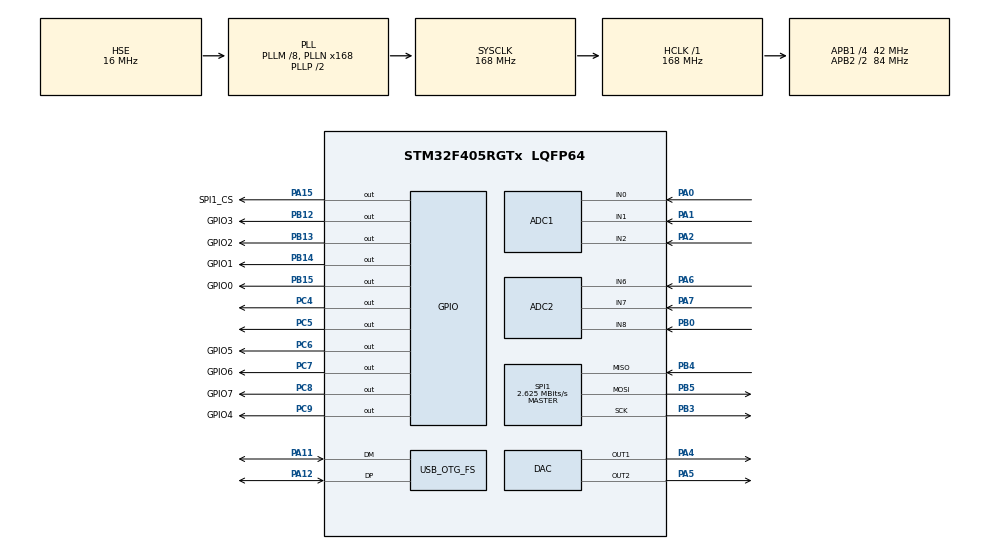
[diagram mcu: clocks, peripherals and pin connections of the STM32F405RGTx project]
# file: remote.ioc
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ADC1.Channel-0\#ChannelRegularConversion=ADC_CHANNEL_0
ADC1.NbrOfConversionFlag=1
ADC1.Rank-0\#ChannelRegularConversion=1
ADC1.SamplingTime-0\#ChannelRegularConversion=ADC_SAMPLETIME_3CYCLES
ADC1.master=1
ADC2.Channel-4\#ChannelRegularConversion=ADC_CHANNEL_6
ADC2.NbrOfConversionFlag=1
ADC2.Rank-4\#ChannelRegularConversion=1
ADC2.SamplingTime-4\#ChannelRegularConversion=ADC_SAMPLETIME_3CYCLES
Mcu.Family=STM32F4
Mcu.Name=STM32F405RGTx
Mcu.Package=LQFP64
NVIC.OTG_FS_IRQn=true\:0\:0\:false\:false\:true\:false\:true\:true
NVIC.PriorityGroup=NVIC_PRIORITYGROUP_4
NVIC.TIM1_UP_TIM10_IRQn=true\:0\:0\:false\:false\:true\:true\:true\:true
PA0-WKUP.Signal=ADCx_IN0
PA1.Signal=ADCx_IN1
PA11.Mode=Device_Only
PA11.Signal=USB_OTG_FS_DM
PA12.Mode=Device_Only
PA12.Signal=USB_OTG_FS_DP
PA13.Mode=Serial_Wire
PA13.Signal=SYS_JTMS-SWDIO
PA14.Mode=Serial_Wire
PA14.Signal=SYS_JTCK-SWCLK
PA15.GPIO_Label=SPI1_CS
PA15.Signal=GPIO_Output
PA2.Signal=ADCx_IN2
PA4.Signal=COMP_DAC1_group
PA5.Signal=COMP_DAC2_group
PA6.Signal=ADCx_IN6
PA7.Signal=ADCx_IN7
PB0.Signal=ADCx_IN8
PB12.GPIO_Label=GPIO3
PB12.Signal=GPIO_Output
PB13.GPIO_Label=GPIO2
PB13.Signal=GPIO_Output
PB14.GPIO_Label=GPIO1
PB14.Signal=GPIO_Output
PB15.GPIO_Label=GPIO0
PB15.Signal=GPIO_Output
PB3.Mode=Full_Duplex_Master
PB3.Signal=SPI1_SCK
PB4.Mode=Full_Duplex_Master
PB4.Signal=SPI1_MISO
PB5.Mode=Full_Duplex_Master
PB5.Signal=SPI1_MOSI
PC4.Signal=GPIO_Output
PC5.Signal=GPIO_Output
PC6.GPIO_Label=GPIO5
PC6.Signal=GPIO_Output
PC7.GPIO_Label=GPIO6
PC7.Signal=GPIO_Output
PC8.GPIO_Label=GPIO7
PC8.Signal=GPIO_Output
PC9.GPIO_Label=GPIO4
PC9.Signal=GPIO_Output
PH0-OSC_IN.Mode=HSE-External-Oscillator
PH0-OSC_IN.Signal=RCC_OSC_IN
PH1-OSC_OUT.Mode=HSE-External-Oscillator
PH1-OSC_OUT.Signal=RCC_OSC_OUT
ProjectManager.HeapSize=0x200
ProjectManager.StackSize=0x400
ProjectManager.TargetToolchain=CMake
RCC.48MHZClocksFreq_Value=48000000
RCC.AHBFreq_Value=168000000
RCC.APB1CLKDivider=RCC_HCLK_DIV4
RCC.APB1Freq_Value=42000000
RCC.APB1TimFreq_Value=84000000
RCC.APB2CLKDivider=RCC_HCLK_DIV2
RCC.APB2Freq_Value=84000000
RCC.APB2TimFreq_Value=168000000
RCC.CortexFreq_Value=168000000
RCC.HCLKFreq_Value=168000000
RCC.HSE_VALUE=16000000
RCC.HSI_VALUE=16000000
RCC.LSE_VALUE=32768
RCC.PLLM=8
RCC.PLLN=168
RCC.PLLQ=7
RCC.SYSCLKFreq_VALUE=168000000
RCC.SYSCLKSource=RCC_SYSCLKSOURCE_PLLCLK
RCC.VCOOutputFreq_Value=336000000
SH.ADCx_IN0.0=ADC1_IN0,IN0
SH.ADCx_IN1.0=ADC1_IN1,IN1
SH.ADCx_IN2.0=ADC1_IN2,IN2
SH.ADCx_IN6.0=ADC2_IN6,IN6
SH.ADCx_IN7.0=ADC2_IN7,IN7
SH.ADCx_IN8.0=ADC2_IN8,IN8
SH.COMP_DAC1_group.0=DAC_OUT1,DAC_OUT1
SH.COMP_DAC2_group.0=DAC_OUT2,DAC_OUT2
SPI1.BaudRatePrescaler=SPI_BAUDRATEPRESCALER_32
SPI1.CLKPhase=SPI_PHASE_2EDGE
SPI1.CalculateBaudRate=2.625 MBits/s
SPI1.DataSize=SPI_DATASIZE_16BIT
SPI1.Direction=SPI_DIRECTION_2LINES
SPI1.Mode=SPI_MODE_MASTER
SPI1.VirtualType=VM_MASTER
TIM10.Channel=TIM_CHANNEL_1
TIM10.Period=33600-1
USB_DEVICE.CLASS_NAME_FS=CDC
USB_DEVICE.VirtualMode-CDC_FS=Cdc
USB_DEVICE.VirtualModeFS=Cdc_FS
USB_OTG_FS.VirtualMode=Device_Only
VP_TIM10_VS_ClockSourceINT.Mode=Enable_Timer
VP_TIM10_VS_no_output1.Mode=Output Compare1 No Output
VP_USB_DEVICE_VS_USB_DEVICE_CDC_FS.Mode=CDC_FS
board=custom

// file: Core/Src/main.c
/* USER CODE BEGIN Header */
/**
 ******************************************************************************
 * @file           : main.c
 * @brief          : Main program body
 ******************************************************************************
 * @attention
 *
 * Copyright (c) 2025 STMicroelectronics.
 * All rights reserved.
 *
 * This software is licensed under terms that can be found in the LICENSE file
 * in the root directory of this software component.
 * If no LICENSE file comes with this software, it is provided AS-IS.
 *
 ******************************************************************************
 */
/* USER CODE END Header */
#include "main.h"
#include "usb_device.h"

/* USER CODE BEGIN Includes */
#include "usbd_cdc_if.h"
#include <stdio.h>

/* USER CODE END Includes */

/* USER CODE BEGIN PD */
#define AIN0_HADC hadc1
#define AIN0_CH 0

#define AIN1_HADC hadc1
#define AIN1_CH 1

#define AIN2_HADC hadc1
#define AIN2_CH 2

#define AIN3_HADC hadc2
#define AIN3_CH 6

#define AIN4_HADC hadc2
#define AIN4_CH 7

#define AIN5_HADC hadc2
#define AIN5_CH 8

/* USER CODE END PD */

ADC_HandleTypeDef hadc1;
ADC_HandleTypeDef hadc2;

DAC_HandleTypeDef hdac;

SPI_HandleTypeDef hspi1;

TIM_HandleTypeDef htim10;

/* USER CODE BEGIN PV */
uint16_t spi_tx_buffer[8] = {0x1234, 0x1234, 0x1234, 0x1234, 0x1234, 0x1234, 0x1234, 0x1234};
uint16_t spi_rx_buffer[8] = {0x1234, 0x1234, 0x1234, 0x1234, 0x1234, 0x1234, 0x1234, 0x1234};

/* USER CODE END PV */

void SystemClock_Config(void);
static void MX_GPIO_Init(void);
static void MX_ADC1_Init(void);
static void MX_ADC2_Init(void);
static void MX_DAC_Init(void);
static void MX_SPI1_Init(void);
static void MX_TIM10_Init(void);

/* USER CODE BEGIN 0 */
int _write(int file, char *ptr, int len) {
  CDC_Transmit_FS((uint8_t *)ptr, len);
  return len;
}

uint16_t adc_sample(ADC_HandleTypeDef *handle, uint32_t channel) {
  ADC_ChannelConfTypeDef sConfig = {0};
  sConfig.Channel = channel;
  sConfig.SamplingTime = ADC_SAMPLETIME_3CYCLES;
  sConfig.Rank = 1;
  HAL_ADC_ConfigChannel(handle, &sConfig);
  HAL_ADC_Start(handle);

  while (HAL_ADC_PollForConversion(handle, 1000000) != HAL_OK)
    ;
  return (uint16_t)HAL_ADC_GetValue(handle);
}

void Sample_Timer_Interrupt_Handler() {
  spi_tx_buffer[0] = adc_sample(&AIN0_HADC, AIN0_CH)<<3;
  spi_tx_buffer[1] = adc_sample(&AIN1_HADC, AIN1_CH)<<3;
  spi_tx_buffer[2] = adc_sample(&AIN2_HADC, AIN2_CH)<<3;
  spi_tx_buffer[3] = adc_sample(&AIN3_HADC, AIN3_CH)<<3;
  spi_tx_buffer[4] = adc_sample(&AIN4_HADC, AIN4_CH)<<3;
  spi_tx_buffer[5] = adc_sample(&AIN5_HADC, AIN5_CH)<<3;

  HAL_GPIO_WritePin(SPI1_CS_GPIO_Port, SPI1_CS_Pin, 0);
  HAL_SPI_TransmitReceive(&hspi1, (uint8_t *)spi_tx_buffer, (uint8_t *)spi_rx_buffer, 8, 10000);
  HAL_GPIO_WritePin(SPI1_CS_GPIO_Port, SPI1_CS_Pin, 1);

  HAL_DAC_SetValue(&hdac, DAC_CHANNEL_1, DAC_ALIGN_12B_R, spi_rx_buffer[0]>>3);
  HAL_DAC_SetValue(&hdac, DAC_CHANNEL_2, DAC_ALIGN_12B_R, spi_rx_buffer[1]>>3);
}

/* USER CODE END 0 */

int main(void)
{

  /* MCU Configuration--------------------------------------------------------*/

  /* Reset of all peripherals, Initializes the Flash interface and the Systick. */
  HAL_Init();

  /* Configure the system clock */
  SystemClock_Config();

  /* Initialize all configured peripherals */
  MX_GPIO_Init();
  MX_ADC1_Init();
  MX_ADC2_Init();
  MX_DAC_Init();
  MX_SPI1_Init();
  MX_USB_DEVICE_Init();
  MX_TIM10_Init();
  /* USER CODE BEGIN 2 */
  HAL_TIM_Base_Start_IT(&htim10);
  HAL_DAC_Start(&hdac, DAC_CHANNEL_1);
  HAL_DAC_Start(&hdac, DAC_CHANNEL_2);

  /* USER CODE END 2 */

  /* Infinite loop */
  while (1) {

    /* USER CODE BEGIN 3 */
    // HAL_GPIO_WritePin(GPIO0_GPIO_Port, GPIO0_Pin, 1);
    // printf("Hellooo!!!\r\n");
    // HAL_Delay(10);
    // HAL_GPIO_WritePin(GPIO0_GPIO_Port, GPIO0_Pin, 0);
    // HAL_Delay(10);
  }
  /* USER CODE END 3 */
}

void SystemClock_Config(void)
{
  RCC_OscInitTypeDef RCC_OscInitStruct = {0};
  RCC_ClkInitTypeDef RCC_ClkInitStruct = {0};

  /** Configure the main internal regulator output voltage
  */
  __HAL_RCC_PWR_CLK_ENABLE();
  __HAL_PWR_VOLTAGESCALING_CONFIG(PWR_REGULATOR_VOLTAGE_SCALE1);

  /** Initializes the RCC Oscillators according to the specified parameters
  * in the RCC_OscInitTypeDef structure.
  */
  RCC_OscInitStruct.OscillatorType = RCC_OSCILLATORTYPE_HSE;
  RCC_OscInitStruct.HSEState = RCC_HSE_ON;
  RCC_OscInitStruct.PLL.PLLState = RCC_PLL_ON;
  RCC_OscInitStruct.PLL.PLLSource = RCC_PLLSOURCE_HSE;
  RCC_OscInitStruct.PLL.PLLM = 8;
  RCC_OscInitStruct.PLL.PLLN = 168;
  RCC_OscInitStruct.PLL.PLLP = RCC_PLLP_DIV2;
  RCC_OscInitStruct.PLL.PLLQ = 7;
  if (HAL_RCC_OscConfig(&RCC_OscInitStruct) != HAL_OK)
  {
    Error_Handler();
  }

  /** Initializes the CPU, AHB and APB buses clocks
  */
  RCC_ClkInitStruct.ClockType = RCC_CLOCKTYPE_HCLK|RCC_CLOCKTYPE_SYSCLK
                              |RCC_CLOCKTYPE_PCLK1|RCC_CLOCKTYPE_PCLK2;
  RCC_ClkInitStruct.SYSCLKSource = RCC_SYSCLKSOURCE_PLLCLK;
  RCC_ClkInitStruct.AHBCLKDivider = RCC_SYSCLK_DIV1;
  RCC_ClkInitStruct.APB1CLKDivider = RCC_HCLK_DIV4;
  RCC_ClkInitStruct.APB2CLKDivider = RCC_HCLK_DIV2;

  if (HAL_RCC_ClockConfig(&RCC_ClkInitStruct, FLASH_LATENCY_5) != HAL_OK)
  {
    Error_Handler();
  }
}

static void MX_ADC1_Init(void)
{

  ADC_ChannelConfTypeDef sConfig = {0};

  /** Configure the global features of the ADC (Clock, Resolution, Data Alignment and number of conversion)
  */
  hadc1.Instance = ADC1;
  hadc1.Init.ClockPrescaler = ADC_CLOCK_SYNC_PCLK_DIV4;
  hadc1.Init.Resolution = ADC_RESOLUTION_12B;
  hadc1.Init.ScanConvMode = DISABLE;
  hadc1.Init.ContinuousConvMode = DISABLE;
  hadc1.Init.DiscontinuousConvMode = DISABLE;
  hadc1.Init.ExternalTrigConvEdge = ADC_EXTERNALTRIGCONVEDGE_NONE;
  hadc1.Init.ExternalTrigConv = ADC_SOFTWARE_START;
  hadc1.Init.DataAlign = ADC_DATAALIGN_RIGHT;
  hadc1.Init.NbrOfConversion = 1;
  hadc1.Init.DMAContinuousRequests = DISABLE;
  hadc1.Init.EOCSelection = ADC_EOC_SINGLE_CONV;
  if (HAL_ADC_Init(&hadc1) != HAL_OK)
  {
    Error_Handler();
  }

  /** Configure for the selected ADC regular channel its corresponding rank in the sequencer and its sample time.
  */
  sConfig.Channel = ADC_CHANNEL_0;
  sConfig.Rank = 1;
  sConfig.SamplingTime = ADC_SAMPLETIME_3CYCLES;
  if (HAL_ADC_ConfigChannel(&hadc1, &sConfig) != HAL_OK)
  {
    Error_Handler();
  }

}

static void MX_ADC2_Init(void)
{

  ADC_ChannelConfTypeDef sConfig = {0};

  /** Configure the global features of the ADC (Clock, Resolution, Data Alignment and number of conversion)
  */
  hadc2.Instance = ADC2;
  hadc2.Init.ClockPrescaler = ADC_CLOCK_SYNC_PCLK_DIV4;
  hadc2.Init.Resolution = ADC_RESOLUTION_12B;
  hadc2.Init.ScanConvMode = DISABLE;
  hadc2.Init.ContinuousConvMode = DISABLE;
  hadc2.Init.DiscontinuousConvMode = DISABLE;
  hadc2.Init.ExternalTrigConvEdge = ADC_EXTERNALTRIGCONVEDGE_NONE;
  hadc2.Init.ExternalTrigConv = ADC_SOFTWARE_START;
  hadc2.Init.DataAlign = ADC_DATAALIGN_RIGHT;
  hadc2.Init.NbrOfConversion = 1;
  hadc2.Init.DMAContinuousRequests = DISABLE;
  hadc2.Init.EOCSelection = ADC_EOC_SINGLE_CONV;
  if (HAL_ADC_Init(&hadc2) != HAL_OK)
  {
    Error_Handler();
  }

  /** Configure for the selected ADC regular channel its corresponding rank in the sequencer and its sample time.
  */
  sConfig.Channel = ADC_CHANNEL_6;
  sConfig.Rank = 1;
  sConfig.SamplingTime = ADC_SAMPLETIME_3CYCLES;
  if (HAL_ADC_ConfigChannel(&hadc2, &sConfig) != HAL_OK)
  {
    Error_Handler();
  }

}

static void MX_DAC_Init(void)
{

  DAC_ChannelConfTypeDef sConfig = {0};

  /** DAC Initialization
  */
  hdac.Instance = DAC;
  if (HAL_DAC_Init(&hdac) != HAL_OK)
  {
    Error_Handler();
  }

  /** DAC channel OUT1 config
  */
  sConfig.DAC_Trigger = DAC_TRIGGER_NONE;
  sConfig.DAC_OutputBuffer = DAC_OUTPUTBUFFER_ENABLE;
  if (HAL_DAC_ConfigChannel(&hdac, &sConfig, DAC_CHANNEL_1) != HAL_OK)
  {
    Error_Handler();
  }

  /** DAC channel OUT2 config
  */
  if (HAL_DAC_ConfigChannel(&hdac, &sConfig, DAC_CHANNEL_2) != HAL_OK)
  {
    Error_Handler();
  }

}

static void MX_SPI1_Init(void)
{

  /* SPI1 parameter configuration*/
  hspi1.Instance = SPI1;
  hspi1.Init.Mode = SPI_MODE_MASTER;
  hspi1.Init.Direction = SPI_DIRECTION_2LINES;
  hspi1.Init.DataSize = SPI_DATASIZE_16BIT;
  hspi1.Init.CLKPolarity = SPI_POLARITY_LOW;
  hspi1.Init.CLKPhase = SPI_PHASE_2EDGE;
  hspi1.Init.NSS = SPI_NSS_SOFT;
  hspi1.Init.BaudRatePrescaler = SPI_BAUDRATEPRESCALER_32;
  hspi1.Init.FirstBit = SPI_FIRSTBIT_MSB;
  hspi1.Init.TIMode = SPI_TIMODE_DISABLE;
  hspi1.Init.CRCCalculation = SPI_CRCCALCULATION_DISABLE;
  hspi1.Init.CRCPolynomial = 10;
  if (HAL_SPI_Init(&hspi1) != HAL_OK)
  {
    Error_Handler();
  }

}

static void MX_TIM10_Init(void)
{

  TIM_OC_InitTypeDef sConfigOC = {0};

  htim10.Instance = TIM10;
  htim10.Init.Prescaler = 0;
  htim10.Init.CounterMode = TIM_COUNTERMODE_UP;
  htim10.Init.Period = 33600-1;
  htim10.Init.ClockDivision = TIM_CLOCKDIVISION_DIV1;
  htim10.Init.AutoReloadPreload = TIM_AUTORELOAD_PRELOAD_DISABLE;
  if (HAL_TIM_Base_Init(&htim10) != HAL_OK)
  {
    Error_Handler();
  }
  if (HAL_TIM_OC_Init(&htim10) != HAL_OK)
  {
    Error_Handler();
  }
  sConfigOC.OCMode = TIM_OCMODE_TIMING;
  sConfigOC.Pulse = 0;
  sConfigOC.OCPolarity = TIM_OCPOLARITY_HIGH;
  sConfigOC.OCFastMode = TIM_OCFAST_DISABLE;
  if (HAL_TIM_OC_ConfigChannel(&htim10, &sConfigOC, TIM_CHANNEL_1) != HAL_OK)
  {
    Error_Handler();
  }

}

static void MX_GPIO_Init(void)
{
  GPIO_InitTypeDef GPIO_InitStruct = {0};

  /* GPIO Ports Clock Enable */
  __HAL_RCC_GPIOH_CLK_ENABLE();
  __HAL_RCC_GPIOA_CLK_ENABLE();
  __HAL_RCC_GPIOC_CLK_ENABLE();
  __HAL_RCC_GPIOB_CLK_ENABLE();

  /*Configure GPIO pin Output Level */
  HAL_GPIO_WritePin(GPIOC, GPIO_PIN_4|GPIO_PIN_5|GPIO5_Pin|GPIO6_Pin
                          |GPIO7_Pin|GPIO4_Pin, GPIO_PIN_RESET);

  /*Configure GPIO pin Output Level */
  HAL_GPIO_WritePin(GPIOB, GPIO3_Pin|GPIO2_Pin|GPIO1_Pin|GPIO0_Pin, GPIO_PIN_RESET);

  /*Configure GPIO pin Output Level */
  HAL_GPIO_WritePin(SPI1_CS_GPIO_Port, SPI1_CS_Pin, GPIO_PIN_RESET);

  /*Configure GPIO pins : PC4 PC5 GPIO5_Pin GPIO6_Pin
                           GPIO7_Pin GPIO4_Pin */
  GPIO_InitStruct.Pin = GPIO_PIN_4|GPIO_PIN_5|GPIO5_Pin|GPIO6_Pin
                          |GPIO7_Pin|GPIO4_Pin;
  GPIO_InitStruct.Mode = GPIO_MODE_OUTPUT_PP;
  GPIO_InitStruct.Pull = GPIO_NOPULL;
  GPIO_InitStruct.Speed = GPIO_SPEED_FREQ_LOW;
  HAL_GPIO_Init(GPIOC, &GPIO_InitStruct);

  /*Configure GPIO pins : GPIO3_Pin GPIO2_Pin GPIO1_Pin GPIO0_Pin */
  GPIO_InitStruct.Pin = GPIO3_Pin|GPIO2_Pin|GPIO1_Pin|GPIO0_Pin;
  GPIO_InitStruct.Mode = GPIO_MODE_OUTPUT_PP;
  GPIO_InitStruct.Pull = GPIO_NOPULL;
  GPIO_InitStruct.Speed = GPIO_SPEED_FREQ_LOW;
  HAL_GPIO_Init(GPIOB, &GPIO_InitStruct);

  /*Configure GPIO pin : SPI1_CS_Pin */
  GPIO_InitStruct.Pin = SPI1_CS_Pin;
  GPIO_InitStruct.Mode = GPIO_MODE_OUTPUT_PP;
  GPIO_InitStruct.Pull = GPIO_NOPULL;
  GPIO_InitStruct.Speed = GPIO_SPEED_FREQ_LOW;
  HAL_GPIO_Init(SPI1_CS_GPIO_Port, &GPIO_InitStruct);

}

void Error_Handler(void)
{
  __disable_irq();
  while (1) {
  }
}
#ifdef USE_FULL_ASSERT
/**
  * @brief  Reports the name of the source file and the source line number
  *         where the assert_param error has occurred.
  * @param  file: pointer to the source file name
  * @param  line: assert_param error line source number
  * @retval None
  */
void assert_failed(uint8_t *file, uint32_t line)
{
  /* USER CODE BEGIN 6 */
  /* User can add his own implementation to report the file name and line
     number, ex: printf("Wrong parameters value: file %s on line %d\r\n", file,
     line) */
  /* USER CODE END 6 */
}
#endif /* USE_FULL_ASSERT */
